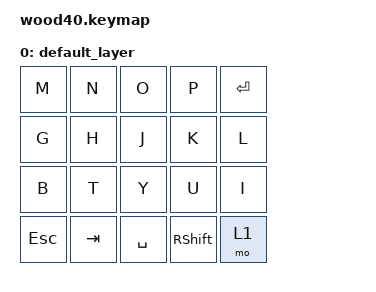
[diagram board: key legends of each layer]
#include <behaviors.dtsi>
#include <dt-bindings/zmk/keys.h>
#include <dt-bindings/zmk/bt.h>

/ {
    keymap {
        compatible = "zmk,keymap";

        default_layer {
            bindings = <
                /* layer 0 */
                &kp M  &kp N  &kp O  &kp P  &kp ENTER
                &kp G  &kp H  &kp J  &kp K  &kp L
                &kp B  &kp T  &kp Y  &kp U  &kp I
                &kp ESC &kp TAB &kp SPC &kp RSHIFT &mo 1
            >;
        };
    };
};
